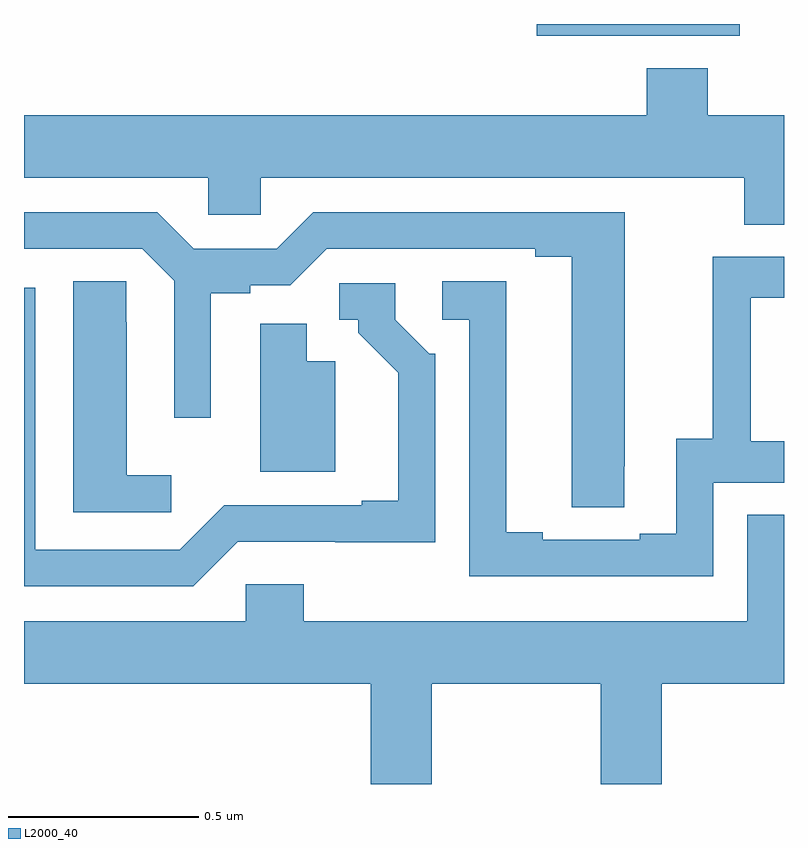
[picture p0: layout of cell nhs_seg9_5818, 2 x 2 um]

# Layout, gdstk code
import gdstk
lib = gdstk.Library(unit=1e-6, precision=1e-09)
def R(c, l, rs):  # rectangles x0, y0, x1, y1
    for r in rs: c.add(gdstk.rectangle(r[:2], r[2:], *l))
def P(c, l, *ps):  # polygons
    for p in ps: c.add(gdstk.Polygon(p, *l))
L2000_40 = (2000, 40)

nhs_seg9_5818 = lib.new_cell('nhs_seg9_5818')
R(nhs_seg9_5818, L2000_40, [(185.349,1187.469,185.883,1187.5)])
P(nhs_seg9_5818, L2000_40, [(186,1187.26),(185.799,1187.26),(185.799,1187.384),(185.639,1187.384),(185.639,1187.26),(184,1187.26),(184,1187.096),(184.485,1187.096),(184.485,1186.998),(184.623,1186.998),(184.623,1187.096),(185.896,1187.096),(185.896,1186.972),(186,1186.972)],
  [(185.58,1186.336),(185.581,1186.336),(185.581,1187.004),(184.761,1187.004),(184.665,1186.908),(184.447,1186.908),(184.351,1187.004),(184,1187.004),(184,1186.908),(184.311,1186.908),(184.395,1186.824),(184.395,1186.464),(184.492,1186.464),(184.492,1186.792),(184.596,1186.792),(184.596,1186.812),(184.701,1186.812),(184.797,1186.908),(185.345,1186.908),(185.345,1186.888),(185.441,1186.888),(185.441,1186.228),(185.58,1186.228)],
  [(185.814,1186.293),(186,1186.293),(186,1186.402),(185.912,1186.402),(185.912,1186.779),(186,1186.779),(186,1186.887),(185.812,1186.887),(185.812,1186.409),(185.717,1186.409),(185.717,1186.158),(185.621,1186.158),(185.621,1186.143),(185.365,1186.143),(185.365,1186.163),(185.269,1186.163),(185.269,1186.823),(185.1,1186.823),(185.1,1186.722),(185.172,1186.722),(185.172,1186.047),(185.814,1186.047)],
  [(184.387,1186.312),(184.27,1186.312),(184.27,1186.715),(184.269,1186.715),(184.269,1186.823),(184.13,1186.823),(184.13,1186.215),(184.387,1186.215)],
  [(184.563,1186.137),(184.819,1186.137),(184.819,1186.136),(185.082,1186.136),(185.082,1186.632),(185.067,1186.632),(184.977,1186.722),(184.977,1186.818),(184.83,1186.818),(184.83,1186.722),(184.88,1186.722),(184.88,1186.687),(184.985,1186.582),(184.985,1186.246),(184.889,1186.246),(184.889,1186.233),(184.527,1186.233),(184.41,1186.116),(184.03,1186.116),(184.03,1186.806),(184,1186.806),(184,1186.02),(184.446,1186.02)],
  [(184.819,1186.612),(184.744,1186.612),(184.744,1186.711),(184.622,1186.711),(184.622,1186.322),(184.819,1186.322)],
  [(185.073,1185.764),(185.518,1185.764),(185.518,1185.5),(185.678,1185.5),(185.678,1185.764),(186,1185.764),(186,1186.208),(185.903,1186.208),(185.903,1185.928),(184.736,1185.928),(184.736,1186.026),(184.584,1186.026),(184.584,1185.928),(184,1185.928),(184,1185.764),(184.913,1185.764),(184.913,1185.5),(185.073,1185.5)])

lib.write_gds('nhs_seg9_5818.gds')
